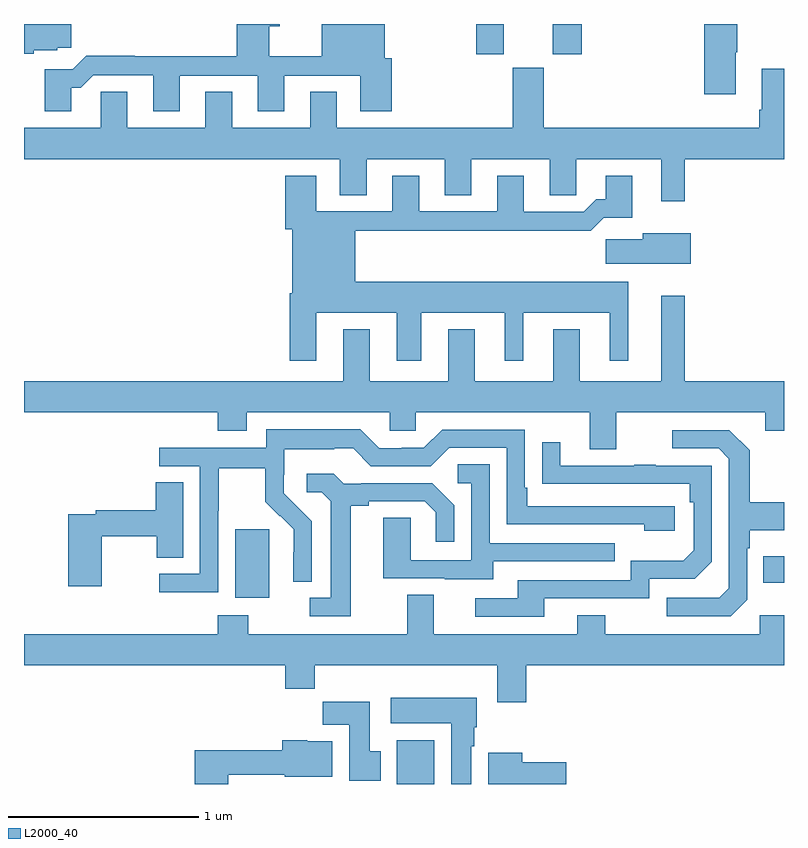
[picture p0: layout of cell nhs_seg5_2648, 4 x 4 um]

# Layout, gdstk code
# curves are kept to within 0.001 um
import gdstk
lib = gdstk.Library(unit=1e-6, precision=1e-09)
def R(c, l, rs):  # rectangles x0, y0, x1, y1
    for r in rs: c.add(gdstk.rectangle(r[:2], r[2:], *l))
def P(c, l, *ps):  # polygons
    for p in ps: c.add(gdstk.Polygon(p, *l))
L2000_40 = (2000, 40)

nhs_seg5_2648 = lib.new_cell('nhs_seg5_2648')
R(nhs_seg5_2648, L2000_40, [(266.963,858.799,267.16,859.03), (266.111,859.778,266.29,860.139), (268.891,859.859,269,859.999), (267.379,862.641,267.526,862.799), (267.782,862.641,267.935,862.799)])
P(nhs_seg5_2648, L2000_40, [(265.05,862.661),(265.176,862.661),(265.176,862.675),(265.249,862.675),(265.249,862.799),(265,862.799),(265,862.643),(265.05,862.643)],
  [(265.249,862.463),(265.298,862.463),(265.365,862.53),(265.679,862.53),(265.679,862.341),(265.819,862.341),(265.819,862.527),(266.231,862.527),(266.231,862.341),(266.371,862.341),(266.371,862.527),(266.771,862.527),(266.771,862.341),(266.936,862.341),(266.936,862.62),(266.899,862.62),(266.899,862.799),(266.567,862.799),(266.567,862.628),(266.29,862.628),(266.29,862.787),(266.347,862.787),(266.347,862.799),(266.12,862.799),(266.12,862.628),(265.583,862.628),(265.583,862.631),(265.328,862.631),(265.257,862.56),(265.109,862.56),(265.109,862.341),(265.249,862.341)],
  [(268.747,862.651),(268.755,862.651),(268.755,862.799),(268.58,862.799),(268.58,862.428),(268.747,862.428)],
  [(268.477,862.088),(269,862.088),(269,862.564),(268.883,862.564),(268.883,862.348),(268.871,862.348),(268.871,862.252),(267.736,862.252),(267.736,862.569),(267.572,862.569),(267.572,862.252),(266.647,862.252),(266.647,862.442),(266.507,862.442),(266.507,862.252),(266.095,862.252),(266.095,862.442),(265.955,862.442),(265.955,862.252),(265.543,862.252),(265.543,862.442),(265.404,862.442),(265.404,862.252),(265,862.252),(265,862.088),(266.663,862.088),(266.663,861.898),(266.803,861.898),(266.803,862.088),(267.215,862.088),(267.215,861.898),(267.355,861.898),(267.355,862.088),(267.767,862.088),(267.767,861.898),(267.906,861.898),(267.906,862.088),(268.355,862.088),(268.355,861.867),(268.477,861.867)],
  [(266.539,861.278),(266.963,861.278),(266.963,861.027),(267.091,861.027),(267.091,861.278),(267.53,861.278),(267.53,861.027),(267.628,861.027),(267.628,861.278),(268.082,861.278),(268.082,861.027),(268.18,861.027),(268.18,861.442),(266.743,861.442),(266.743,861.712),(267.727,861.712),(267.727,861.71),(267.983,861.71),(268.052,861.779),(268.201,861.779),(268.201,862),(268.061,862),(268.061,861.877),(268.012,861.877),(267.945,861.81),(267.631,861.81),(267.631,862),(267.491,862),(267.491,861.813),(267.079,861.813),(267.079,862),(266.939,862),(266.939,861.813),(266.539,861.813),(266.539,862),(266.375,862),(266.375,861.72),(266.411,861.72),(266.411,861.382),(266.399,861.382),(266.399,861.027),(266.539,861.027)],
  [(268.51,861.697),(268.256,861.697),(268.256,861.665),(268.062,861.665),(268.062,861.536),(268.51,861.536)],
  [(268.117,860.756),(268.901,860.756),(268.901,860.657),(269,860.657),(269,860.92),(268.477,860.92),(268.477,861.37),(268.355,861.37),(268.355,860.92),(267.925,860.92),(267.925,861.193),(267.785,861.193),(267.785,860.92),(267.373,860.92),(267.373,861.193),(267.233,861.193),(267.233,860.92),(266.821,860.92),(266.821,861.193),(266.681,861.193),(266.681,860.92),(265,860.92),(265,860.756),(266.021,860.756),(266.021,860.657),(266.173,860.657),(266.173,860.756),(266.925,860.756),(266.925,860.658),(267.063,860.658),(267.063,860.756),(267.977,860.756),(267.977,860.562),(268.117,860.562)],
  [(266.022,860.236),(266.025,860.236),(266.025,860.46),(266.269,860.46),(266.269,860.285),(266.346,860.208),(266.349,860.211),(266.42,860.141),(266.42,860.018),(266.418,860.018),(266.418,859.864),(266.514,859.864),(266.514,860.182),(266.368,860.33),(266.368,860.427),(266.37,860.427),(266.37,860.561),(266.633,860.561),(266.633,860.565),(266.733,860.565),(266.826,860.472),(267.141,860.472),(267.237,860.568),(267.54,860.568),(267.54,860.166),(268.265,860.166),(268.265,860.132),(268.426,860.132),(268.426,860.262),(267.649,860.262),(267.649,860.359),(267.636,860.359),(267.636,860.664),(267.201,860.664),(267.105,860.568),(266.987,860.568),(266.987,860.565),(266.871,860.565),(266.771,860.665),(266.274,860.665),(266.274,860.568),(265.713,860.568),(265.713,860.472),(265.926,860.472),(265.926,859.905),(265.713,859.905),(265.713,859.807),(266.022,859.807)],
  [(268.806,859.77),(268.806,860.039),(268.819,860.039),(268.819,860.135),(269,860.135),(269,860.283),(268.819,860.283),(268.819,860.555),(268.713,860.661),(268.413,860.661),(268.413,860.565),(268.656,860.565),(268.71,860.511),(268.71,859.83),(268.659,859.779),(268.383,859.779),(268.383,859.683),(268.719,859.683)],
  [(267.739,859.776),(268.29,859.776),(268.29,859.878),(268.53,859.878),(268.62,859.968),(268.62,860.475),(268.325,860.475),(268.325,860.48),(268.213,860.48),(268.213,860.475),(267.823,860.475),(267.823,860.599),(267.727,860.599),(267.727,860.38),(268.504,860.379),(268.504,860.282),(268.524,860.282),(268.524,860.028),(268.471,859.975),(268.194,859.975),(268.194,859.872),(267.599,859.872),(267.599,859.776),(267.375,859.776),(267.375,859.68),(267.739,859.68)],
  [(267.469,859.971),(268.109,859.971),(268.109,860.067),(267.45,860.067),(267.45,860.483),(267.282,860.483),(267.282,860.382),(267.354,860.382),(267.354,859.977),(267.036,859.977),(267.036,860.201),(266.891,860.201),(266.891,859.881),(267.215,859.881),(267.215,859.877),(267.469,859.877)],
  [(266.719,860.264),(266.815,860.264),(266.815,860.286),(267.11,860.286),(267.167,860.229),(267.167,860.073),(267.264,860.073),(267.264,860.266),(267.148,860.382),(266.776,860.382),(266.776,860.379),(266.682,860.379),(266.63,860.431),(266.487,860.431),(266.487,860.334),(266.568,860.334),(266.615,860.287),(266.615,859.779),(266.505,859.779),(266.505,859.683),(266.719,859.683)],
  [(265.41,860.104),(265.699,860.104),(265.699,859.99),(265.837,859.99),(265.837,860.387),(265.694,860.387),(265.694,860.24),(265.378,860.24),(265.378,860.22),(265.232,860.22),(265.232,859.839),(265.41,859.839)],
  [(267.644,859.424),(269,859.424),(269,859.687),(268.872,859.687),(268.872,859.588),(268.059,859.588),(268.059,859.687),(267.911,859.687),(267.911,859.588),(267.157,859.588),(267.157,859.796),(267.017,859.796),(267.017,859.588),(266.181,859.588),(266.181,859.687),(266.021,859.687),(266.021,859.588),(265,859.588),(265,859.424),(266.375,859.424),(266.375,859.3),(266.531,859.3),(266.531,859.424),(267.491,859.424),(267.491,859.23),(267.644,859.23)],
  [(267.355,858.998),(267.37,858.998),(267.37,859.098),(267.382,859.098),(267.382,859.252),(266.931,859.252),(266.931,859.118),(267.248,859.118),(267.248,858.799),(267.355,858.799)],
  [(266.878,858.972),(266.821,858.972),(266.821,859.231),(266.572,859.231),(266.572,859.112),(266.711,859.112),(266.711,858.816),(266.878,858.816)],
  [(266.076,858.847),(266.372,858.847),(266.372,858.836),(266.623,858.836),(266.623,859.024),(266.49,859.024),(266.49,859.03),(266.36,859.03),(266.36,858.976),(265.898,858.976),(265.898,858.799),(266.076,858.799)],
  [(267.853,858.914),(267.622,858.914),(267.622,858.964),(267.443,858.964),(267.443,858.799),(267.853,858.799)])

lib.write_gds('nhs_seg5_2648.gds')
